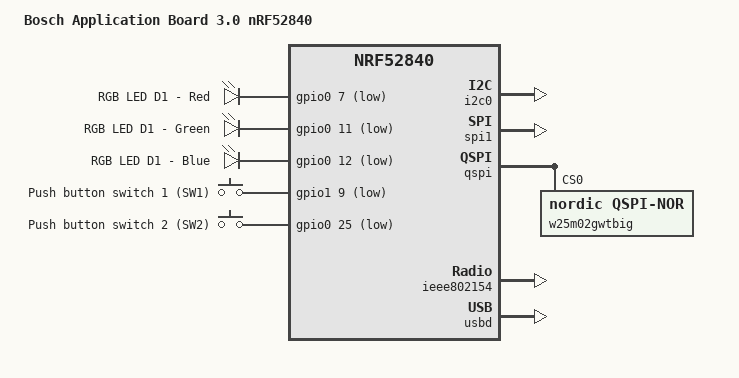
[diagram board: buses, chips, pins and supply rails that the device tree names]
/*
 * Copyright (c) 2025 Dr. Konstantin Selyunin
 *
 * SPDX-License-Identifier: Apache-2.0
 */

/dts-v1/;
#include <nordic/nrf52840_qiaa.dtsi>
#include "bosch_application_board_3_0_nrf52840-pinctrl.dtsi"
#include <zephyr/dt-bindings/input/input-event-codes.h>

/ {
	model = "Bosch Application Board 3.0 nRF52840";
	compatible = "nordic,ubx_evkninab3_nrf52840";

	chosen {
		zephyr,console = &cdc_acm_uart;
		zephyr,shell-uart = &cdc_acm_uart;
		zephyr,uart-mcumgr = &cdc_acm_uart;
		zephyr,bt-mon-uart = &cdc_acm_uart;
		zephyr,bt-c2h-uart = &cdc_acm_uart;
		zephyr,sram = &sram0;
		zephyr,flash = &flash0;
		zephyr,code-partition = &slot0_partition;
		zephyr,ieee802154 = &ieee802154;
	};

	leds {
		compatible = "gpio-leds";
		led0: led_0 {
			gpios = <&gpio0 7 GPIO_ACTIVE_LOW>;
			label = "RGB LED D1 - Red";
		};
		led1: led_1 {
			gpios = <&gpio0 11 GPIO_ACTIVE_LOW>;
			label = "RGB LED D1 - Green";
		};
		led2: led_2 {
			gpios = <&gpio0 12 GPIO_ACTIVE_LOW>;
			label = "RGB LED D1 - Blue";
		};
	};

	power_switches {
		compatible = "gpio-power-switches";
		vdd_sel: vdd_sel {
			gpios = <&gpio0 27 GPIO_ACTIVE_HIGH>;
			label = "Used with ps_en1 to set the voltage of the VDD P7.1 pin of the ShuttleBoard Connector";
		};
		ps_en1: ps_en1 {
			gpios = <&gpio0 3 GPIO_ACTIVE_HIGH>;
			label = "Used with vdd_sel to set the voltage of the VDD P7.1 pin of the ShuttleBoard Connector";
		};
		ps_en2: ps_en2 {
			gpios = <&gpio0 28 GPIO_ACTIVE_HIGH>;
			label = "The line is used to switch ON VDDIO line P7.2 of the ShuttleBoard connector";
		};
	};

	buttons {
		compatible = "gpio-keys";
		button0: button_0 {
			gpios = <&gpio1 9 (GPIO_PULL_UP | GPIO_ACTIVE_LOW)>;
			label = "Push button switch 1 (SW1)";
			zephyr,code = <INPUT_KEY_0>;
		};
		button1: button_1 {
			gpios = <&gpio0 25 (GPIO_PULL_UP | GPIO_ACTIVE_LOW)>;
			label = "Push button switch 2 (SW2)";
			zephyr,code = <INPUT_KEY_1>;
		};
	};

	/* These aliases are provided for compatibility with samples */
	aliases {
		led0 = &led0;
		led1 = &led1;
		led2 = &led2;
		vdd-sel = &vdd_sel;
		ps-en1 = &ps_en1;
		ps-en2 = &ps_en2;
		sw0 = &button0;
		sw1 = &button1;
		watchdog0 = &wdt0;
	};
};


&uicr {
	gpio-as-nreset;
};

&gpiote {
	status = "okay";
};

&gpio0 {
	status = "okay";
};

&gpio1 {
	status = "okay";
};

&i2c0 {
	compatible = "nordic,nrf-twi";
	status = "okay";
	pinctrl-0 = <&i2c0_default>;
	pinctrl-1 = <&i2c0_sleep>;
	pinctrl-names = "default", "sleep";
};

&spi0 {
	compatible = "nordic,nrf-spi";
	/* Cannot be used together with i2c0. */
	/* status = "okay"; */
	pinctrl-0 = <&spi0_default>;
	pinctrl-1 = <&spi0_sleep>;
	pinctrl-names = "default", "sleep";
};

&spi1 {
	compatible = "nordic,nrf-spi";
	status = "okay";
	pinctrl-0 = <&spi1_default>;
	pinctrl-1 = <&spi1_sleep>;
	pinctrl-names = "default", "sleep";
};

&qspi {
	status = "okay";
	pinctrl-0 = <&qspi_default>;
	pinctrl-1 = <&qspi_sleep>;
	pinctrl-names = "default", "sleep";
	w25m02gwtbig: w25m02gwtbig@0 {
		compatible = "nordic,qspi-nor";
		reg = <0>;
		writeoc = "pp4io";
		readoc = "read4io";
		sck-frequency = <8000000>;
		jedec-id = [ef bb 21];
		size = <2147483648>;
	};
};

&ieee802154 {
	status = "okay";
};

&flash0 {

	partitions {
		compatible = "fixed-partitions";
		#address-cells = <1>;
		#size-cells = <1>;

		boot_partition: partition@0 {
			label = "mcuboot";
			reg = <0x00000000 0x0000C000>;
		};
		slot0_partition: partition@c000 {
			label = "image-0";
			reg = <0x0000C000 0x00067000>;
		};
		slot1_partition: partition@73000 {
			label = "image-1";
			reg = <0x00073000 0x00067000>;
		};
		scratch_partition: partition@da000 {
			label = "image-scratch";
			reg = <0x000da000 0x0001e000>;
		};

		/*
		 * The flash starting at 0x000f8000 and ending at
		 * 0x000fffff is reserved for use by the application.
		 */

		/*
		 * Storage partition will be used by FCB/LittleFS/NVS
		 * if enabled.
		 */
		storage_partition: partition@f8000 {
			label = "storage";
			reg = <0x000f8000 0x00008000>;
		};
	};
};

zephyr_udc0: &usbd {
	compatible = "nordic,nrf-usbd";
	status = "okay";

	cdc_acm_uart: cdc_acm_uart {
		compatible = "zephyr,cdc-acm-uart";
	};
};

